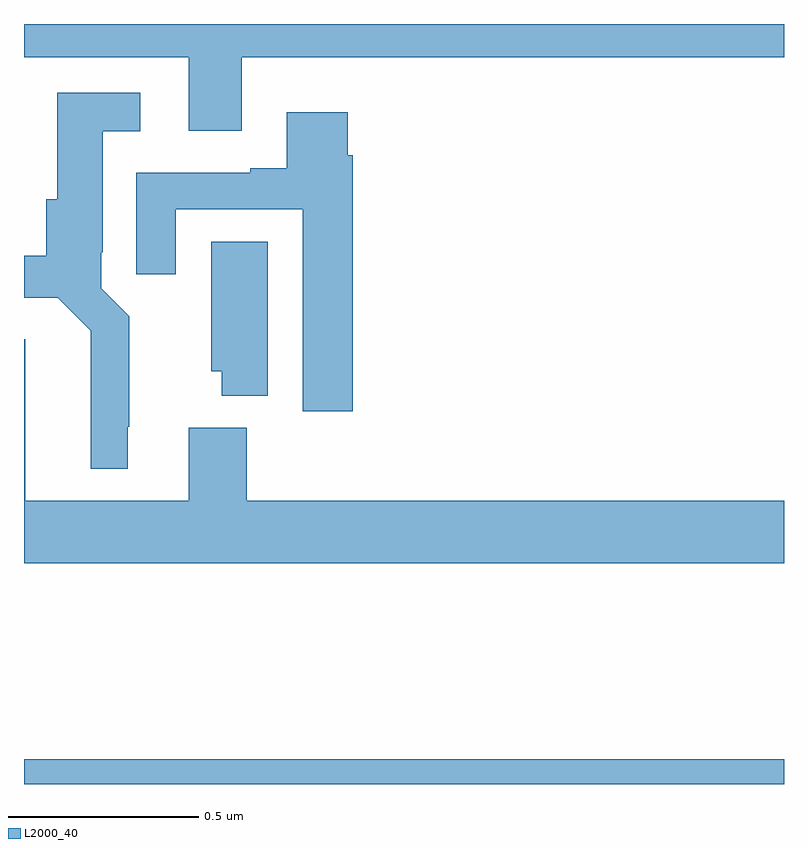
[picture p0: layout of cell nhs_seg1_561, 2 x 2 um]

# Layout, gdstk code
import gdstk
lib = gdstk.Library(unit=1e-6, precision=1e-09)
def R(c, l, rs):  # rectangles x0, y0, x1, y1
    for r in rs: c.add(gdstk.rectangle(r[:2], r[2:], *l))
def P(c, l, *ps):  # polygons
    for p in ps: c.add(gdstk.Polygon(p, *l))
L2000_40 = (2000, 40)

nhs_seg1_561 = lib.new_cell('nhs_seg1_561')
R(nhs_seg1_561, L2000_40, [(118,503.199,120,503.264)])
P(nhs_seg1_561, L2000_40, [(118.573,505.112),(120,505.112),(120,505.199),(118,505.199),(118,505.112),(118.433,505.112),(118.433,504.918),(118.573,504.918)],
  [(118.273,504.139),(118.277,504.139),(118.277,504.43),(118.203,504.504),(118.203,504.598),(118.207,504.598),(118.207,504.917),(118.306,504.917),(118.306,505.018),(118.088,505.018),(118.088,504.738),(118.058,504.738),(118.058,504.589),(118,504.589),(118,504.479),(118.089,504.479),(118.176,504.392),(118.176,504.29),(118.175,504.29),(118.175,504.029),(118.273,504.029)],
  [(118.865,504.854),(118.852,504.854),(118.852,504.967),(118.691,504.967),(118.691,504.82),(118.595,504.82),(118.595,504.807),(118.295,504.807),(118.295,504.54),(118.399,504.54),(118.399,504.711),(118.733,504.711),(118.733,504.18),(118.865,504.18)],
  [(118.642,504.626),(118.493,504.626),(118.493,504.285),(118.52,504.285),(118.52,504.221),(118.642,504.221)],
  [(120,503.944),(118.586,503.944),(118.586,504.136),(118.433,504.136),(118.433,503.944),(118.003,503.944),(118.003,504.37),(118,504.37),(118,503.78),(120,503.78)])

lib.write_gds('nhs_seg1_561.gds')
